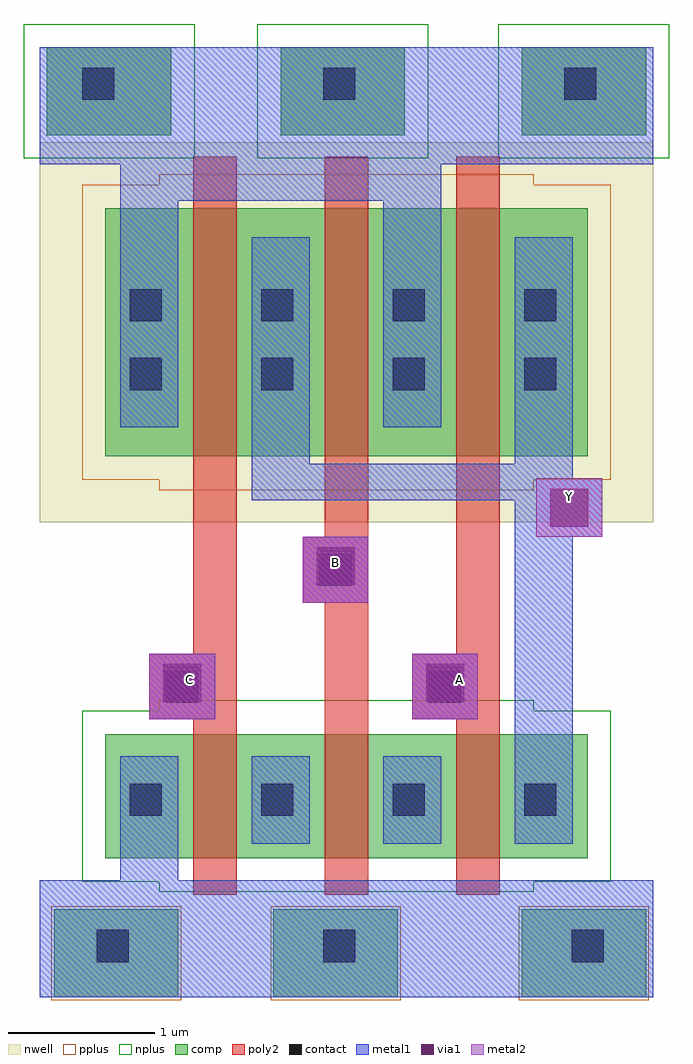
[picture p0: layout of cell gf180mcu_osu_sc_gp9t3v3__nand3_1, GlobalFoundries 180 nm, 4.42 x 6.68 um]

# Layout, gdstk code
import gdstk
lib = gdstk.Library(unit=1e-6, precision=1e-09)
def R(c, l, rs):  # rectangles x0, y0, x1, y1
    for r in rs: c.add(gdstk.rectangle(r[:2], r[2:], *l))
def A(c, l, x, y, w, h, nx, ny, dx, dy):  # array of equal rectangles
    R(c, l, [(x+i*dx, y+j*dy, x+i*dx+w, y+j*dy+h) for i in range(nx) for j in range(ny)])
nwell = (21, 0)
comp = (22, 0)
poly2 = (30, 0)
pplus = (31, 0)
nplus = (32, 0)
contact = (33, 0)
metal1 = (34, 0)
via1 = (35, 0)
metal2 = (36, 0)

gf180mcu_osu_sc_gp9t3v3_ = lib.new_cell('gf180mcu_osu_sc_gp9t3v3__nand3_1')
R(gf180mcu_osu_sc_gp9t3v3_, nwell, [(-0.3,1.15,3.9,3.75), (-0.25,3.8,0.6,4.4), (1.35,3.8,2.2,4.4), (3,3.8,3.85,4.4)])
R(gf180mcu_osu_sc_gp9t3v3_, comp, [(-0.2,-2.1,0.65,-1.5), (1.3,-2.1,2.15,-1.5), (3,-2.1,3.85,-1.5), (0.15,-1.15,3.45,-0.3), (0.15,1.6,3.45,3.3), (-0.25,3.8,0.6,4.4), (1.35,3.8,2.2,4.4), (3,3.8,3.85,4.4)])
R(gf180mcu_osu_sc_gp9t3v3_, poly2, [(0.75,-1.4,1.05,-0.2), (1.65,-1.4,1.95,0.6), (2.55,-1.4,2.85,-0.2), (0.45,-0.2,1.05,0.25), (2.25,-0.2,2.85,0.25), (0.75,0.25,1.05,3.65), (2.55,0.25,2.85,3.65), (1.5,0.6,1.95,1.05), (1.65,1.05,1.95,3.65)])
R(gf180mcu_osu_sc_gp9t3v3_, pplus, [(-0.22,-2.12,0.67,-1.48), (1.28,-2.12,2.17,-1.48), (2.98,-2.12,3.87,-1.48), (0.52,1.37,3.08,1.44), (-0.01,1.44,3.61,3.46), (0.52,3.46,3.08,3.53)])
R(gf180mcu_osu_sc_gp9t3v3_, nplus, [(0.52,-1.38,3.08,-1.31), (-0.01,-1.31,3.61,-0.14), (0.52,-0.14,3.08,-0.07), (-0.41,3.64,0.76,4.56), (1.19,3.64,2.36,4.56), (2.84,3.64,4.01,4.56)])
A(gf180mcu_osu_sc_gp9t3v3_, contact, 0.315, -0.86, 0.22, 0.22, 4, 2, 0.9, 2.915)
A(gf180mcu_osu_sc_gp9t3v3_, contact, 0.315, 2.525, 0.22, 0.22, 4, 1, 0.9, 0)
A(gf180mcu_osu_sc_gp9t3v3_, contact, -0.01, 4.04, 0.22, 0.22, 3, 1, 1.65, 0)
R(gf180mcu_osu_sc_gp9t3v3_, contact, [(0.09,-1.86,0.31,-1.64), (1.64,-1.86,1.86,-1.64), (3.34,-1.86,3.56,-1.64), (0.565,-0.085,0.785,0.135), (2.365,-0.085,2.585,0.135), (1.615,0.715,1.835,0.935)])
R(gf180mcu_osu_sc_gp9t3v3_, metal1, [(-0.3,-2.1,3.9,-1.3), (0.25,-1.3,0.65,-0.45), (1.15,-1.05,1.55,-0.45), (2.05,-1.05,2.45,-0.45), (2.95,-1.05,3.35,1.05), (0.45,-0.2,0.9,0.25), (2.25,-0.2,2.7,0.25), (1.5,0.6,1.95,1.05), (2.95,1.05,3.55,1.3), (1.15,1.3,3.55,1.45), (1.15,1.45,3.35,1.55), (1.15,1.55,1.55,3.1), (2.95,1.55,3.35,3.1), (0.25,1.8,0.65,3.35), (2.05,1.8,2.45,3.35), (0.25,3.35,2.45,3.6), (-0.3,3.6,3.9,4.4)])
R(gf180mcu_osu_sc_gp9t3v3_, via1, [(0.545,-0.08,0.805,0.18), (2.345,-0.08,2.605,0.18), (1.595,0.72,1.855,0.98), (3.195,1.12,3.455,1.38)])
R(gf180mcu_osu_sc_gp9t3v3_, metal2, [(0.45,-0.2,0.9,0.25), (2.25,-0.2,2.7,0.25), (1.5,0.6,1.95,1.05), (3.1,1.05,3.55,1.45)])
gf180mcu_osu_sc_gp9t3v3_.add(gdstk.Label('A', (2.575,0.075), layer=36, texttype=0))
gf180mcu_osu_sc_gp9t3v3_.add(gdstk.Label('B', (1.725,0.875), layer=36, texttype=0))
gf180mcu_osu_sc_gp9t3v3_.add(gdstk.Label('C', (0.725,0.075), layer=36, texttype=0))
gf180mcu_osu_sc_gp9t3v3_.add(gdstk.Label('Y', (3.325,1.325), layer=36, texttype=0))

lib.write_gds('gf180mcu_osu_sc_gp9t3v3__nand3_1.gds')
